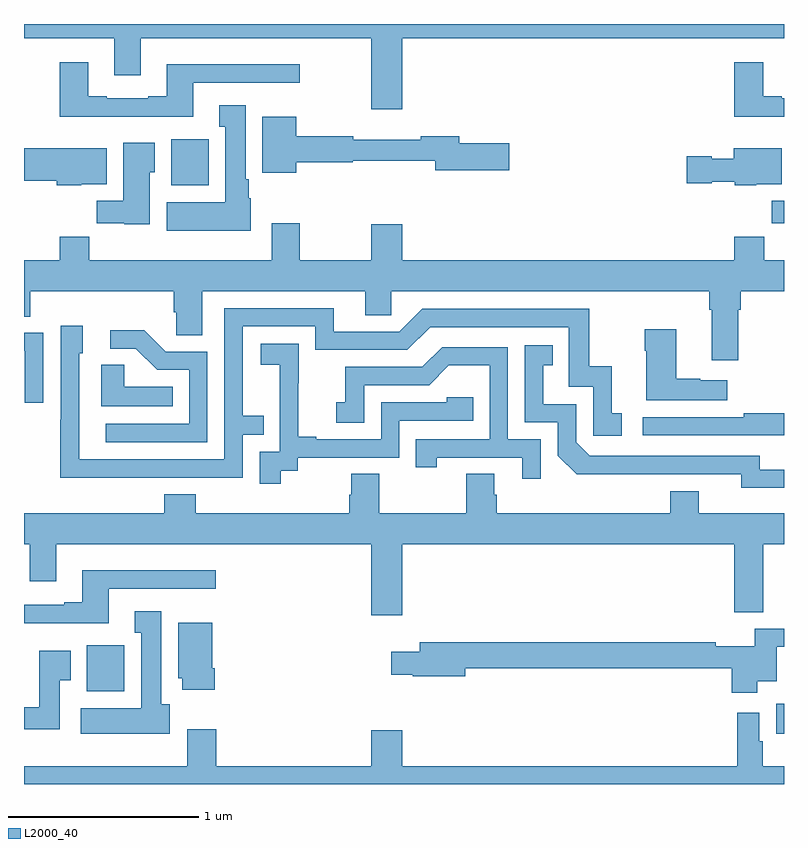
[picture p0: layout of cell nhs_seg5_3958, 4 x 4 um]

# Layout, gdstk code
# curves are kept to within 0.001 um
import gdstk
lib = gdstk.Library(unit=1e-6, precision=1e-09)
def R(c, l, rs):  # rectangles x0, y0, x1, y1
    for r in rs: c.add(gdstk.rectangle(r[:2], r[2:], *l))
def P(c, l, *ps):  # polygons
    for p in ps: c.add(gdstk.Polygon(p, *l))
L2000_40 = (2000, 40)

nhs_seg5_3958 = lib.new_cell('nhs_seg5_3958')
R(nhs_seg5_3958, L2000_40, [(346.958,889.064,347,889.222), (343.331,889.286,343.528,889.528), (346.936,891.75,347,891.868), (343.775,891.95,343.972,892.192)])
P(nhs_seg5_3958, L2000_40, [(344.992,892.724),(347,892.724),(347,892.799),(343,892.799),(343,892.724),(343.475,892.724),(343.475,892.53),(343.615,892.53),(343.615,892.724),(344.828,892.724),(344.828,892.35),(344.992,892.35)],
  [(347,892.407),(346.987,892.407),(346.987,892.42),(346.891,892.42),(346.891,892.597),(346.739,892.597),(346.739,892.31),(347,892.31)],
  [(343.891,892.491),(344.452,892.491),(344.452,892.588),(343.751,892.588),(343.751,892.42),(343.655,892.42),(343.655,892.407),(343.435,892.407),(343.435,892.42),(343.339,892.42),(343.339,892.597),(343.187,892.597),(343.187,892.31),(343.891,892.31)],
  [(344.194,891.882),(344.182,891.882),(344.182,891.982),(344.167,891.982),(344.167,892.372),(344.027,892.372),(344.027,892.259),(344.06,892.259),(344.06,891.862),(343.751,891.862),(343.751,891.71),(344.194,891.71)],
  [(344.434,892.072),(344.73,892.072),(344.73,892.08),(345.164,892.08),(345.164,892.03),(345.553,892.03),(345.553,892.172),(345.292,892.172),(345.292,892.208),(345.088,892.208),(345.088,892.189),(344.732,892.189),(344.732,892.208),(344.434,892.208),(344.434,892.312),(344.255,892.312),(344.255,892.016),(344.434,892.016)],
  [(343.663,892.02),(343.687,892.02),(343.687,892.174),(343.523,892.174),(343.523,891.868),(343.384,891.868),(343.384,891.75),(343.527,891.75),(343.527,891.746),(343.663,891.746)],
  [(343.302,891.956),(343.435,891.956),(343.435,892.144),(343.188,892.144),(343.188,892.145),(343,892.145),(343,891.973),(343.172,891.973),(343.172,891.95),(343.302,891.95)],
  [(346.854,891.956),(346.987,891.956),(346.987,892.144),(346.736,892.144),(346.736,892.09),(346.62,892.09),(346.62,892.103),(346.488,892.103),(346.488,891.961),(346.62,891.961),(346.62,891.968),(346.74,891.968),(346.74,891.95),(346.854,891.95)],
  [(346.759,891.296),(346.772,891.296),(346.772,891.392),(347,891.392),(347,891.556),(346.895,891.556),(346.895,891.68),(346.739,891.68),(346.739,891.556),(344.992,891.556),(344.992,891.745),(344.828,891.745),(344.828,891.556),(344.451,891.556),(344.451,891.751),(344.303,891.751),(344.303,891.556),(343.343,891.556),(343.343,891.68),(343.187,891.68),(343.187,891.556),(343,891.556),(343,891.259),(343.034,891.259),(343.034,891.392),(343.787,891.392),(343.787,891.283),(343.8,891.283),(343.8,891.16),(343.939,891.16),(343.939,891.392),(344.795,891.392),(344.795,891.265),(344.934,891.265),(344.934,891.392),(346.607,891.392),(346.607,891.296),(346.619,891.296),(346.619,891.03),(346.759,891.03)],
  [(343.655,890.412),(344.151,890.412),(344.151,890.637),(344.261,890.637),(344.261,890.738),(344.151,890.738),(344.151,891.207),(344.532,891.207),(344.532,891.084),(345.018,891.084),(345.138,891.204),(345.867,891.204),(345.867,890.889),(345.996,890.889),(345.996,890.631),(346.147,890.631),(346.147,890.751),(346.094,890.751),(346.094,890.998),(345.976,890.998),(345.976,891.3),(345.096,891.3),(344.976,891.18),(344.629,891.18),(344.629,891.303),(344.055,891.303),(344.055,890.508),(343.29,890.508),(343.29,891.066),(343.309,891.066),(343.309,891.211),(343.194,891.211),(343.194,890.717),(343.192,890.717),(343.192,890.411)],
  [(346.702,890.923),(346.559,890.923),(346.559,890.933),(346.432,890.933),(346.432,891.193),(346.267,891.193),(346.267,891.08),(346.274,891.08),(346.274,890.819),(346.702,890.819)],
  [(343.965,891.075),(343.746,891.075),(343.633,891.188),(343.455,891.188),(343.455,891.09),(343.589,891.09),(343.7,890.979),(343.869,890.979),(343.869,890.694),(343.431,890.694),(343.431,890.598),(343.965,890.598)],
  [(343.101,891.174),(343,891.174),(343,891.078),(343.005,891.078),(343.005,890.805),(343.101,890.805)],
  [(344.35,890.449),(344.442,890.449),(344.442,890.517),(344.976,890.517),(344.976,890.712),(345.365,890.712),(345.365,890.835),(345.225,890.835),(345.225,890.808),(344.88,890.808),(344.88,890.613),(344.539,890.613),(344.539,890.626),(344.444,890.626),(344.444,890.909),(344.445,890.909),(344.445,891.115),(344.247,891.115),(344.247,891.005),(344.345,891.005),(344.345,890.777),(344.346,890.777),(344.346,890.547),(344.241,890.547),(344.241,890.379),(344.35,890.379)],
  [(347,890.454),(346.872,890.454),(346.872,890.526),(345.978,890.526),(345.906,890.598),(345.906,890.799),(345.733,890.799),(345.733,891.003),(345.782,891.003),(345.782,891.109),(345.636,891.109),(345.636,890.703),(345.81,890.703),(345.81,890.526),(345.908,890.429),(346.776,890.43),(346.776,890.357),(347,890.357)],
  [(345.72,890.613),(345.546,890.613),(345.546,891.099),(345.2,891.099),(345.095,890.994),(344.692,890.994),(344.692,890.809),(344.643,890.809),(344.643,890.7),(344.79,890.7),(344.79,890.898),(345.132,890.898),(345.236,891.002),(345.45,891.002),(345.45,890.613),(345.061,890.613),(345.061,890.466),(345.172,890.466),(345.172,890.517),(345.623,890.517),(345.623,890.406),(345.72,890.406)],
  [(343.784,890.89),(343.527,890.89),(343.527,891.005),(343.406,891.005),(343.406,890.786),(343.784,890.786)],
  [(347,890.75),(346.789,890.75),(346.789,890.73),(346.257,890.73),(346.257,890.634),(347,890.634)],
  [(344.992,890.06),(346.739,890.06),(346.739,889.702),(346.891,889.702),(346.891,890.06),(347,890.06),(347,890.224),(346.552,890.224),(346.552,890.341),(346.4,890.341),(346.4,890.224),(345.488,890.224),(345.488,890.322),(345.475,890.322),(345.475,890.432),(345.328,890.432),(345.328,890.224),(344.871,890.224),(344.871,890.432),(344.723,890.432),(344.723,890.322),(344.711,890.322),(344.711,890.224),(343.904,890.224),(343.904,890.323),(343.739,890.323),(343.739,890.224),(343,890.224),(343,890.06),(343.031,890.06),(343.031,889.866),(343.171,889.866),(343.171,890.06),(344.828,890.06),(344.828,889.686),(344.992,889.686)],
  [(343.447,889.827),(344.008,889.827),(344.008,889.924),(343.307,889.924),(343.307,889.756),(343.211,889.756),(343.211,889.743),(343,889.743),(343,889.646),(343.447,889.646)],
  [(343.768,889.218),(343.723,889.218),(343.723,889.708),(343.583,889.708),(343.583,889.595),(343.616,889.595),(343.616,889.198),(343.299,889.198),(343.299,889.064),(343.768,889.064)],
  [(344.003,889.408),(343.99,889.408),(343.99,889.648),(343.811,889.648),(343.811,889.356),(343.832,889.356),(343.832,889.296),(344.003,889.296)],
  [(346.858,889.34),(346.962,889.34),(346.962,889.521),(347,889.521),(347,889.617),(346.846,889.617),(346.846,889.524),(346.64,889.524),(346.64,889.544),(345.083,889.544),(345.083,889.495),(344.934,889.495),(344.934,889.373),(345.046,889.373),(345.046,889.366),(345.322,889.366),(345.322,889.408),(346.724,889.408),(346.724,889.278),(346.858,889.278)],
  [(343.189,889.345),(343.246,889.345),(343.246,889.501),(343.079,889.501),(343.079,889.204),(343,889.204),(343,889.086),(343.189,889.086)],
  [(347,888.892),(346.888,888.892),(346.888,889.025),(346.869,889.025),(346.869,889.174),(346.753,889.174),(346.753,888.892),(344.992,888.892),(344.992,889.081),(344.828,889.081),(344.828,888.892),(344.012,888.892),(344.012,889.087),(343.859,889.087),(343.859,888.892),(343,888.892),(343,888.799),(347,888.799)])

lib.write_gds('nhs_seg5_3958.gds')
